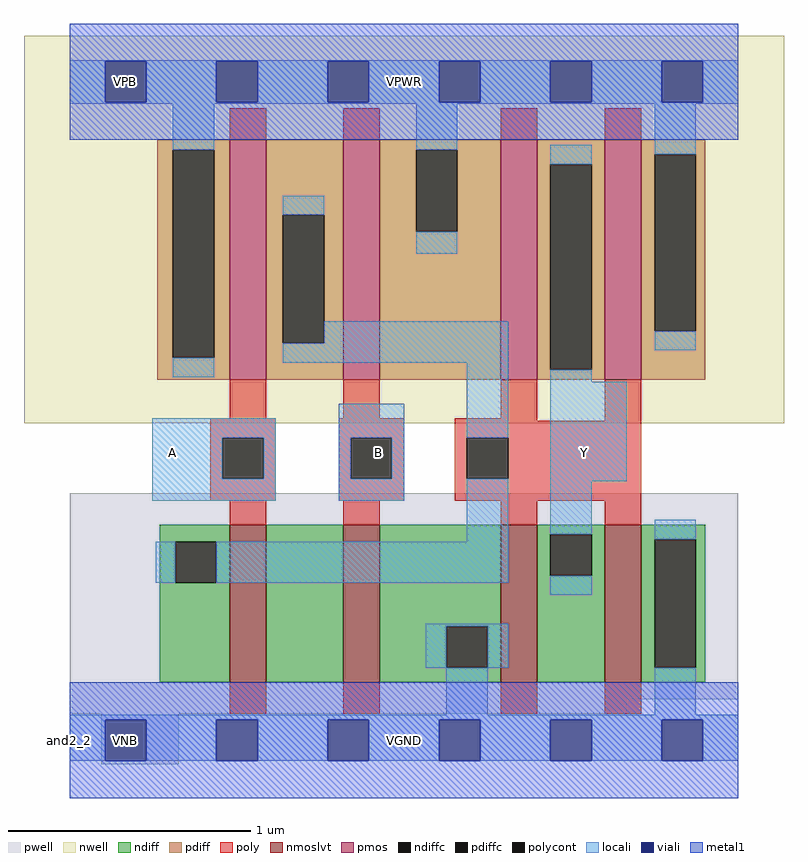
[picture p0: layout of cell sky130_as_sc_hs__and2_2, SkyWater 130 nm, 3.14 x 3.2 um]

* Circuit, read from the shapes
.subckt sky130_as_sc_hs__and2_2 VNB VPB VPWR VGND A B Y
XM1 n1 A n2 VNB sky130_fd_pr__nfet_01v8_lvt w=0.65 l=0.15
XM2 VGND B n1 VNB sky130_fd_pr__nfet_01v8_lvt w=0.65 l=0.15
XM3 Y n2 VGND VNB sky130_fd_pr__nfet_01v8_lvt w=0.65 l=0.15 m=2
XM4 n2 A VPWR VPB sky130_fd_pr__pfet_01v8 w=0.99 l=0.15
XM5 VPWR B n2 VPB sky130_fd_pr__pfet_01v8 w=0.99 l=0.15
XM6 Y n2 VPWR VPB sky130_fd_pr__pfet_01v8 w=0.99 l=0.15 m=2
.ends

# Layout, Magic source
magic
tech sky130A
magscale 1 2
<< nwell >>
rect -38 262 590 582
<< pwell >>
rect 0 34 552 204
rect 0 22 460 34
rect 26 -20 90 22
<< pmos >>
rect 132 298 162 496
rect 226 298 256 496
rect 356 298 386 496
rect 442 298 472 496
<< nmoslvt >>
rect 132 48 162 178
rect 226 48 256 178
rect 356 48 386 178
rect 442 48 472 178
<< ndiff >>
rect 74 164 132 178
rect 74 130 87 164
rect 121 130 132 164
rect 74 48 132 130
rect 162 48 226 178
rect 256 94 356 178
rect 256 60 311 94
rect 345 60 356 94
rect 256 48 356 60
rect 386 170 442 178
rect 386 136 397 170
rect 431 136 442 170
rect 386 48 442 136
rect 472 166 525 178
rect 472 60 483 166
rect 517 60 525 166
rect 472 48 525 60
<< pdiff >>
rect 72 488 132 496
rect 72 316 85 488
rect 119 316 132 488
rect 72 298 132 316
rect 162 434 226 496
rect 162 328 176 434
rect 210 328 226 434
rect 162 298 226 328
rect 256 488 356 496
rect 256 420 286 488
rect 320 420 356 488
rect 256 298 356 420
rect 386 476 442 496
rect 386 306 397 476
rect 431 306 442 476
rect 386 298 442 306
rect 472 484 525 496
rect 472 338 483 484
rect 517 338 525 484
rect 472 298 525 338
<< ndiffc >>
rect 87 130 121 164
rect 311 60 345 94
rect 397 136 431 170
rect 483 60 517 166
<< pdiffc >>
rect 85 316 119 488
rect 176 328 210 434
rect 286 420 320 488
rect 397 306 431 476
rect 483 338 517 484
<< poly >>
rect 132 496 162 522
rect 226 496 256 522
rect 356 496 386 522
rect 442 496 472 522
rect 132 266 162 298
rect 226 266 256 298
rect 356 266 386 298
rect 116 250 170 266
rect 116 216 126 250
rect 160 216 170 250
rect 116 198 170 216
rect 222 250 276 266
rect 222 216 232 250
rect 266 216 276 250
rect 222 198 276 216
rect 318 264 386 266
rect 442 264 472 298
rect 318 250 472 264
rect 318 216 328 250
rect 362 216 472 250
rect 318 198 472 216
rect 132 178 162 198
rect 226 178 256 198
rect 356 178 386 198
rect 442 178 472 198
rect 132 22 162 48
rect 226 22 256 48
rect 356 22 386 48
rect 442 22 472 48
<< polycont >>
rect 126 216 160 250
rect 232 216 266 250
rect 328 216 362 250
<< locali >>
rect 0 561 552 562
rect 0 527 29 561
rect 63 527 121 561
rect 155 527 213 561
rect 247 527 305 561
rect 339 527 397 561
rect 431 527 489 561
rect 523 527 552 561
rect 0 526 552 527
rect 85 488 119 526
rect 286 488 320 526
rect 85 300 119 316
rect 176 434 210 450
rect 286 402 320 420
rect 397 476 431 492
rect 210 328 362 346
rect 176 312 362 328
rect 68 250 170 266
rect 68 216 126 250
rect 160 216 170 250
rect 68 198 170 216
rect 222 250 276 278
rect 222 216 232 250
rect 266 216 276 250
rect 222 198 276 216
rect 328 250 362 312
rect 328 164 362 216
rect 71 130 87 164
rect 121 130 362 164
rect 483 484 517 526
rect 483 322 517 338
rect 397 296 431 306
rect 397 214 460 296
rect 397 170 431 214
rect 397 120 431 136
rect 483 166 517 182
rect 294 94 362 96
rect 294 60 311 94
rect 345 60 362 94
rect 311 21 345 60
rect 483 21 517 60
rect 0 17 552 21
rect 0 -17 29 17
rect 63 -17 121 17
rect 155 -17 213 17
rect 247 -17 305 17
rect 339 -17 397 17
rect 431 -17 489 17
rect 523 -17 552 17
<< viali >>
rect 29 527 63 561
rect 121 527 155 561
rect 213 527 247 561
rect 305 527 339 561
rect 397 527 431 561
rect 489 527 523 561
rect 29 -17 63 17
rect 121 -17 155 17
rect 213 -17 247 17
rect 305 -17 339 17
rect 397 -17 431 17
rect 489 -17 523 17
<< metal1 >>
rect 0 561 552 592
rect 0 527 29 561
rect 63 527 121 561
rect 155 527 213 561
rect 247 527 305 561
rect 339 527 397 561
rect 431 527 489 561
rect 523 527 552 561
rect 0 496 552 527
rect 0 17 552 48
rect 0 -17 29 17
rect 63 -17 121 17
rect 155 -17 213 17
rect 247 -17 305 17
rect 339 -17 397 17
rect 431 -17 489 17
rect 523 -17 552 17
rect 0 -48 552 -17
<< labels >>
rlabel comment s 0 0 0 0 4 and2_2
flabel pwell s 29 -17 63 17 0 FreeSans 200 0 0 0 VNB
port 1 nsew ground bidirectional
flabel pwell s 46 0 46 0 0 FreeSans 200 0 0 0 VNB
flabel nwell s 29 527 63 561 0 FreeSans 200 0 0 0 VPB
port 2 nsew power bidirectional
flabel nwell s 46 544 46 544 0 FreeSans 200 0 0 0 VPB
flabel metal1 s 29 527 63 561 0 FreeSans 200 0 0 0 VPWR
port 3 nsew power bidirectional abutment
flabel metal1 s 29 -17 63 17 0 FreeSans 200 0 0 0 VGND
port 4 nsew ground bidirectional abutment
rlabel metal1 s 0 -48 552 48 1 VGND
port 4 nsew ground bidirectional abutment
rlabel metal1 s 0 496 552 592 1 VPWR
port 3 nsew power bidirectional abutment
flabel locali s 68 221 102 255 0 FreeSans 200 0 0 0 A
port 5 nsew signal input
flabel locali s 85 238 85 238 0 FreeSans 200 0 0 0 A
flabel locali s 238 221 272 255 0 FreeSans 200 0 0 0 B
port 6 nsew signal input
flabel locali s 255 238 255 238 0 FreeSans 200 0 0 0 B
flabel locali s 408 221 442 255 0 FreeSans 200 0 0 0 Y
port 7 nsew signal output
flabel locali s 425 238 425 238 0 FreeSans 200 0 0 0 Y
<< properties >>
string FIXED_BBOX 0 0 552 544
string GDS_FILE $PDKPATH/libs.ref/sky130_as_sc_hs/gds/sky130_as_sc_hs__and2_2.gds
string LEFclass CORE
string LEFsite unithd
string LEFsymmetry X Y R90
string MASKHINTS_LVTN 0 -4 552 220
string MASKHINTS_NSDM 0 -38 552 209
string MASKHINTS_PSDM 0 273 552 582
<< end >>
